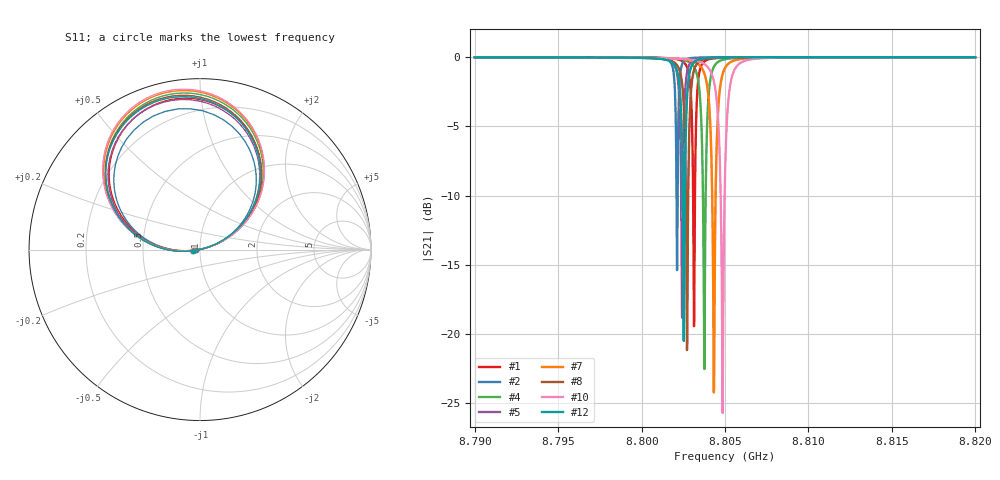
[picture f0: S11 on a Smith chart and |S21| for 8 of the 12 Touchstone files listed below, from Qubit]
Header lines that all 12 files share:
! Sonnet Data File
! From: emgraph Version : 16.52
! From Project: Qubit_Test_beforeopt
! Data is De-embedded
!< PARAMS
!< END PARAMS
# GHZ S MA R 51.80000
Fixed: Lj = 11.0, Pwid = 2000.0
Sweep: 8.79 GHz to 8.82 GHz
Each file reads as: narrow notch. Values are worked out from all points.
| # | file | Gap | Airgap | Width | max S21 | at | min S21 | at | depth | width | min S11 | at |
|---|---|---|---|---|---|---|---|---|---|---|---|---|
| 1 | Xeven_W20_gp6.s2p | 6.0 | 12.0 | 20.0 | 0.00 dB | 8.81779 GHz | -19.4 dB | 8.80314 GHz | 19.4 dB | 115 kHz | -54.3 dB | 8.81513 GHz |
| 2 | Xeven_W20_gp16.s2p | 16.0 | 12.0 | 20.0 | 0.00 dB | 8.80977 GHz | -15.4 dB | 8.80212 GHz | 15.4 dB | 93 kHz | -62.5 dB | 8.80799 GHz |
| 3 | Xeven_W20_gp26.s2p | 26.0 | 12.0 | 20.0 | 0.00 dB | 8.80785 GHz | -12.7 dB | 8.80199 GHz | 12.7 dB | 79.3 kHz | -62.2 dB | 8.80584 GHz |
| 4 | Xeven_W30_gp6.s2p | 6.0 | 18.0 | 30.0 | 0.00 dB | 8.81725 GHz | -22.5 dB | 8.80376 GHz | 22.5 dB | 136 kHz | -54.9 dB | 8.81621 GHz |
| 5 | Xeven_W30_gp16.s2p | 16.0 | 18.0 | 30.0 | 0.00 dB | 8.81065 GHz | -18.8 dB | 8.80243 GHz | 18.8 dB | 113 kHz | -61.2 dB | 8.8094 GHz |
| 6 | Xeven_W30_gp26.s2p | 26.0 | 18.0 | 30.0 | 0.00 dB | 8.80826 GHz | -16.4 dB | 8.80217 GHz | 16.4 dB | 95.8 kHz | -61.4 dB | 8.80697 GHz |
| 7 | Xeven_W40_gp6.s2p | 6.0 | 24.0 | 40.0 | 0.00 dB | 8.81918 GHz | -24.2 dB | 8.80433 GHz | 24.2 dB | 153 kHz | -55.8 dB | 8.81811 GHz |
| 8 | Xeven_W40_gp16.s2p | 16.0 | 24.0 | 40.0 | 0.00 dB | 8.81274 GHz | -21.1 dB | 8.80272 GHz | 21.1 dB | 127 kHz | -61.0 dB | 8.81102 GHz |
| 9 | Xeven_W40_gp26.s2p | 26.0 | 24.0 | 40.0 | 0.00 dB | 8.80976 GHz | -18.8 dB | 8.80235 GHz | 18.8 dB | 110 kHz | -61.4 dB | 8.80826 GHz |
| 10 | Xeven_W50_gp6.s2p | 6.0 | 30.0 | 50.0 | 0.00 dB | 8.81992 GHz | -25.7 dB | 8.80486 GHz | 25.7 dB | 163 kHz | -56.6 dB | 8.81996 GHz |
| 11 | Xeven_W50_gp16.s2p | 16.0 | 30.0 | 50.0 | 0.00 dB | 8.81348 GHz | -22.7 dB | 8.80301 GHz | 22.6 dB | 139 kHz | -61.1 dB | 8.81255 GHz |
| 12 | Xeven_W50_gp26.s2p | 26.0 | 30.0 | 50.0 | 0.00 dB | 8.81103 GHz | -20.5 dB | 8.80253 GHz | 20.5 dB | 121 kHz | -61.6 dB | 8.80949 GHz |
